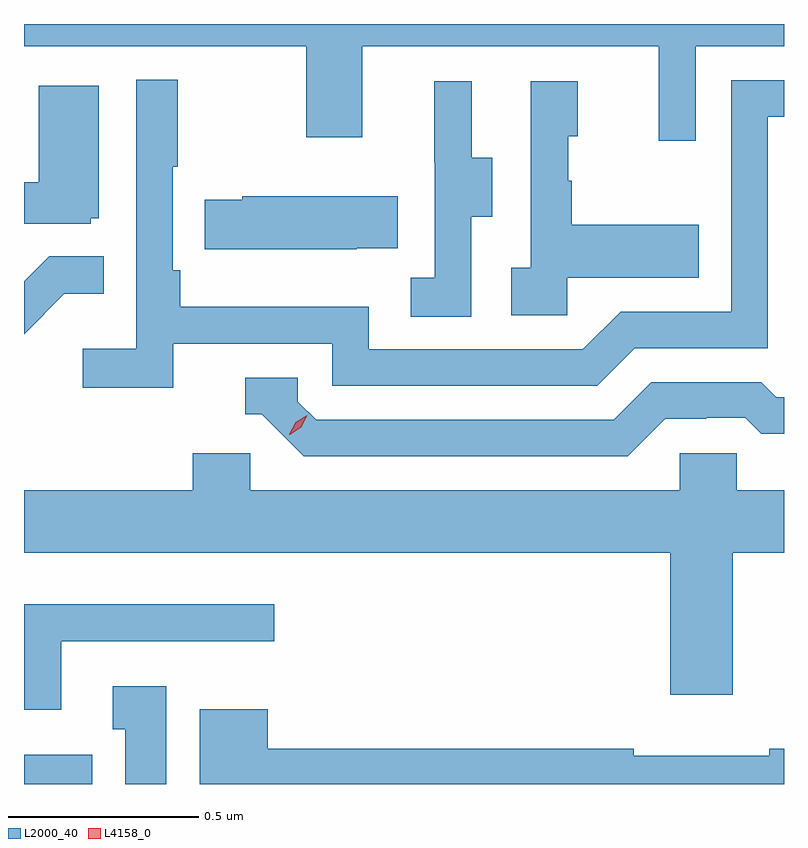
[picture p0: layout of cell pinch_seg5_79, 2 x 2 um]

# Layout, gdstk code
import gdstk
lib = gdstk.Library(unit=1e-6, precision=1e-09)
def R(c, l, rs):  # rectangles x0, y0, x1, y1
    for r in rs: c.add(gdstk.rectangle(r[:2], r[2:], *l))
def P(c, l, *ps):  # polygons
    for p in ps: c.add(gdstk.Polygon(p, *l))
L2000_40 = (2000, 40)
L4158_0 = (4158, 0)

pinch_seg5_79 = lib.new_cell('pinch_seg5_79')
R(pinch_seg5_79, L2000_40, [(1038.431,900.107,1038.61,900.184)])
P(pinch_seg5_79, L2000_40, [(1040.199,902.048),(1040.431,902.048),(1040.431,902.107),(1038.431,902.107),(1038.431,902.048),(1039.174,902.048),(1039.174,901.809),(1039.321,901.809),(1039.321,902.048),(1040.102,902.048),(1040.102,901.8),(1040.199,901.8)],
  [(1038.824,901.266),(1039.242,901.266),(1039.242,901.155),(1039.939,901.155),(1040.038,901.254),(1040.388,901.254),(1040.388,901.863),(1040.431,901.863),(1040.431,901.959),(1040.292,901.959),(1040.292,901.35),(1040.001,901.35),(1039.902,901.251),(1039.338,901.251),(1039.338,901.363),(1038.842,901.363),(1038.842,901.459),(1038.822,901.459),(1038.822,901.732),(1038.835,901.732),(1038.835,901.96),(1038.726,901.96),(1038.726,901.252),(1038.585,901.252),(1038.585,901.15),(1038.824,901.15)],
  [(1039.608,901.6),(1039.663,901.6),(1039.663,901.755),(1039.609,901.755),(1039.609,901.957),(1039.511,901.957),(1039.511,901.743),(1039.512,901.743),(1039.512,901.439),(1039.449,901.439),(1039.449,901.336),(1039.608,901.336)],
  [(1039.86,901.439),(1040.207,901.439),(1040.207,901.579),(1039.873,901.579),(1039.873,901.694),(1039.863,901.694),(1039.863,901.812),(1039.888,901.812),(1039.888,901.957),(1039.764,901.957),(1039.764,901.466),(1039.713,901.466),(1039.713,901.341),(1039.86,901.341)],
  [(1038.606,901.596),(1038.628,901.596),(1038.628,901.945),(1038.47,901.945),(1038.47,901.69),(1038.431,901.69),(1038.431,901.581),(1038.606,901.581)],
  [(1039.307,901.517),(1039.415,901.517),(1039.415,901.654),(1039.005,901.654),(1039.005,901.644),(1038.907,901.644),(1038.907,901.514),(1039.307,901.514)],
  [(1038.537,901.397),(1038.641,901.397),(1038.641,901.496),(1038.497,901.496),(1038.431,901.43),(1038.431,901.291)],
  [(1040.119,901.068),(1040.226,901.068),(1040.226,901.071),(1040.329,901.071),(1040.371,901.029),(1040.431,901.029),(1040.431,901.125),(1040.41,901.125),(1040.371,901.164),(1040.082,901.164),(1039.983,901.065),(1039.2,901.065),(1039.152,901.113),(1039.152,901.176),(1039.013,901.176),(1039.013,901.08),(1039.056,901.08),(1039.167,900.969),(1040.02,900.969)],
  [(1040.296,900.716),(1040.431,900.716),(1040.431,900.88),(1040.307,900.88),(1040.307,900.978),(1040.157,900.978),(1040.157,900.88),(1039.026,900.88),(1039.026,900.978),(1038.875,900.978),(1038.875,900.88),(1038.431,900.88),(1038.431,900.716),(1040.132,900.716),(1040.132,900.342),(1040.296,900.342)],
  [(1038.529,900.483),(1039.09,900.483),(1039.09,900.58),(1038.431,900.58),(1038.431,900.303),(1038.529,900.303)],
  [(1038.805,900.364),(1038.665,900.364),(1038.665,900.251),(1038.698,900.251),(1038.698,900.107),(1038.805,900.107)],
  [(1040.431,900.2),(1040.392,900.2),(1040.392,900.181),(1040.036,900.181),(1040.036,900.2),(1039.072,900.2),(1039.072,900.304),(1038.893,900.304),(1038.893,900.107),(1040.431,900.107)])
P(pinch_seg5_79, L4158_0, [(1039.129,901.026),(1039.129,901.027),(1039.146,901.059),(1039.177,901.078),(1039.177,901.078),(1039.177,901.078),(1039.161,901.046),(1039.13,901.026)])

lib.write_gds('pinch_seg5_79.gds')
